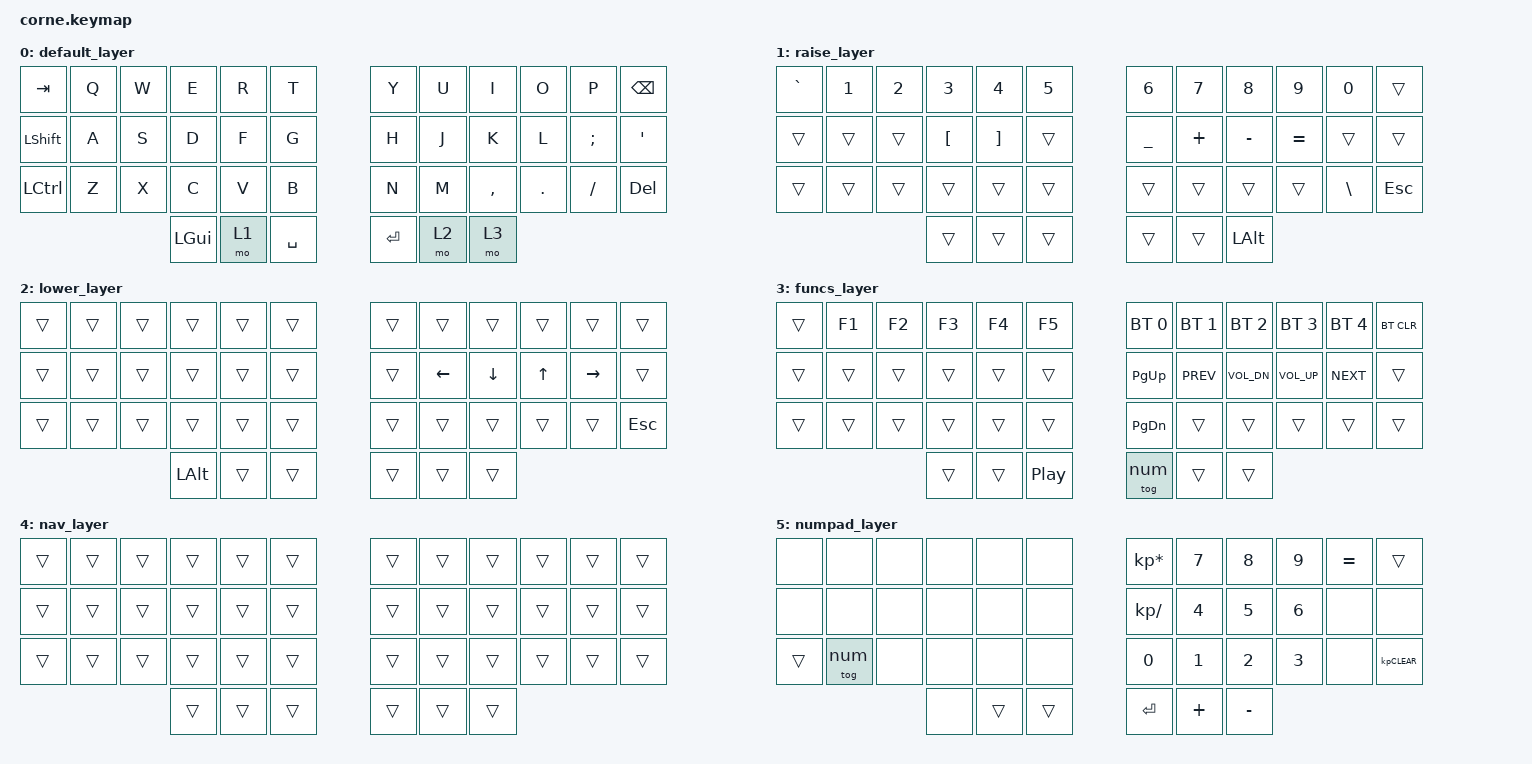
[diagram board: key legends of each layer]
/*
 * Copyright (c) 2020 The ZMK Contributors
 *
 * SPDX-License-Identifier: MIT
 */

#include <behaviors.dtsi>
#include <dt-bindings/zmk/keys.h>
#include <dt-bindings/zmk/bt.h>

#define DEFAULT 0
#define raise 1
#define lower 2
#define funcs 3
#define nav 4
#define num 5


&mt {
    tapping-term-ms = <300>;
};


/ {
        
        behaviors {
                td_LBRC: td_Left_Brackets {
                        compatible = "zmk,behavior-tap-dance";
                        label = "TAP_DANCE_LEFT_BRACKETS";
                        #binding-cells = <0>;
                        tapping-term-ms = <200>;
                        bindings = <&kp LPAR>, <&kp LBKT>, <&kp LBRC>;
                };

                td_RBRC: td_Right_Brackets {
                        compatible = "zmk,behavior-tap-dance";
                        label = "TAP_DANCE_RIGHT_BRACKETS";
                        #binding-cells = <0>;
                        tapping-term-ms = <200>;
                        bindings = <&kp RPAR>, <&kp RBKT>, <&kp RBRC>;
                };
        };

        keymap {
                compatible = "zmk,keymap";


                default_layer {
// -----------------------------------------------------------------------------------------
// |  TAB |  Q  |  W  |  E  |  R  |  T  |   |  Y  |  U   |  I  |  O  |  P  | BKSP |
// | SHIFT |  A  |  S  |  D  |  F  |  G  |   |  H  |  J   |  K  |  L  |  ;  |  '   |
// | CTRL |  Z  |  X  |  C  |  V  |  B  |   |  N  |  M   |  ,  |  .  |  /  | DEL |
//                    | WIN | RSE | SPC |   | ENT |  LWR | FUNCS |
// -----------------------------------------------------------------------------------------

                        bindings = <
   &kp TAB      &kp Q &kp W &kp E &kp R &kp T      &kp Y &kp U  &kp I     &kp O   &kp P     &kp BSPC
   &kp LSHIFT   &kp A &kp S &kp D &kp F &kp G      &kp H &kp J  &kp K     &kp L   &kp SEMI  &kp SQT
   &kp LCTRL    &kp Z &kp X &kp C &kp V &kp B      &kp N &kp M  &kp COMMA &kp DOT &kp FSLH  &kp DEL
                  &kp LGUI  &mo 1   &kp SPACE      &kp RET  &mo 2  &mo 3
                        >;
                };

                raise_layer {
                        bindings = <
   &kp GRAVE  &kp N1    &kp N2   &kp N3   &kp N4     &kp N5           &kp N6      &kp N7      &kp N8       &kp N9       &kp N0      &trans
   &trans     &trans    &trans   &kp LBKT &kp RBKT   &trans           &kp UNDER   &kp PLUS    &kp MINUS    &kp EQUAL    &trans      &trans 
   &trans     &trans    &trans   &trans   &trans     &trans           &trans      &trans      &trans       &trans       &kp BSLH    &kp ESC 
                                 &trans   &trans     &trans           &trans      &trans      &kp LALT
                        >;
                };

                lower_layer {
                        bindings = <
   &trans     &trans   &trans   &trans    &trans    &trans          &trans     &trans     &trans     &trans     &trans     &trans 
   &trans     &trans   &trans   &trans    &trans    &trans          &trans     &kp LEFT   &kp DOWN   &kp UP     &kp RIGHT  &trans
   &trans     &trans   &trans   &trans    &trans    &trans          &trans     &trans     &trans     &trans     &trans     &kp ESC
                               &kp LALT   &trans    &trans          &trans     &trans     &trans
                        >; 
                };

                funcs_layer {
                        bindings = <
   &trans   &kp F1     &kp F2   &kp F3   &kp F4   &kp F5                   &bt BT_SEL 0   &bt BT_SEL 1   &bt BT_SEL 2   &bt BT_SEL 3   &bt BT_SEL 4   &bt BT_CLR
   &trans   &trans     &trans   &trans   &trans   &trans                   &kp PG_UP      &kp C_PREV     &kp C_VOL_DN   &kp C_VOL_UP   &kp C_NEXT     &trans
   &trans   &trans     &trans   &trans   &trans   &trans                   &kp PG_DN      &trans         &trans         &trans         &trans         &trans
                                &trans   &trans   &kp C_PLAY_PAUSE         &tog num       &trans         &trans
                        >;
                };

                nav_layer{
                        bindings = < 
   &trans     &trans   &trans   &trans    &trans    &trans          &trans     &trans     &trans     &trans     &trans     &trans 
   &trans     &trans   &trans   &trans    &trans    &trans          &trans     &trans     &trans     &trans     &trans     &trans 
   &trans     &trans   &trans   &trans    &trans    &trans          &trans     &trans     &trans     &trans     &trans     &trans 
                                &trans    &trans    &trans          &trans     &trans     &trans
                        >;
                };

                numpad_layer {
                        bindings = <
    &none     &none          &none   &none    &none    &none             &kp KP_MULTIPLY    &kp N7       &kp N8     &kp N9     &kp EQUAL   &trans
    &none     &none          &none   &none    &none    &none             &kp KP_DIVIDE      &kp N4       &kp N5     &kp N6     &none       &none
    &trans    &tog num       &none   &none    &none    &none             &kp N0             &kp N1       &kp N2     &kp N3     &none       &kp KP_CLEAR
                                     &none    &trans   &trans            &kp RET            &kp PLUS     &kp MINUS
                        >;
                };
        };
};

